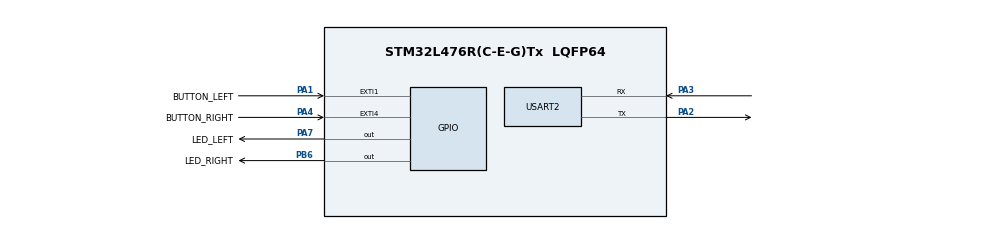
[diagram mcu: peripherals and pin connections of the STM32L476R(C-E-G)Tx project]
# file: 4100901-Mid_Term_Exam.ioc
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Mcu.Family=STM32L4
Mcu.Name=STM32L476R(C-E-G)Tx
Mcu.Package=LQFP64
NVIC.EXTI1_IRQn=true\:0\:0\:false\:false\:true\:true\:true\:true
NVIC.EXTI4_IRQn=true\:0\:0\:false\:false\:true\:true\:true\:true
NVIC.PriorityGroup=NVIC_PRIORITYGROUP_4
PA1.GPIO_Label=BUTTON_LEFT
PA1.Signal=GPXTI1
PA2.Mode=Asynchronous
PA2.Signal=USART2_TX
PA3.Mode=Asynchronous
PA3.Signal=USART2_RX
PA4.GPIO_Label=BUTTON_RIGHT
PA4.Signal=GPXTI4
PA7.GPIO_Label=LED_LEFT
PA7.PinState=GPIO_PIN_SET
PA7.Signal=GPIO_Output
PB6.GPIO_Label=LED_RIGHT
PB6.PinState=GPIO_PIN_SET
PB6.Signal=GPIO_Output
ProjectManager.HeapSize=0x200
ProjectManager.StackSize=0x400
ProjectManager.TargetToolchain=STM32CubeIDE
RCC.HSE_VALUE=8000000
RCC.HSI_VALUE=16000000
RCC.LSE_VALUE=32768
RCC.MSI_VALUE=4000000
RCC.VCOOutputFreq_Value=32000000
USART2.VirtualMode-Asynchronous=VM_ASYNC
board=custom

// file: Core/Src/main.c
/* USER CODE BEGIN Header */
/**
  ******************************************************************************
  * @file           : main.c
  * @brief          : Main program body
  ******************************************************************************
  * @attention
  *
  * Copyright (c) 2024 STMicroelectronics.
  * All rights reserved.
  *
  * This software is licensed under terms that can be found in the LICENSE file
  * in the root directory of this software component.
  * If no LICENSE file comes with this software, it is provided AS-IS.
  *
  ******************************************************************************
  */
/* USER CODE END Header */
#include "main.h"
#define DEBOUNCE_TIME 100

UART_HandleTypeDef huart2;

/* USER CODE BEGIN PV */
uint16_t counter_left=0;
uint16_t counter_right=0;
static uint16_t last_debounce_time_left=0;
static uint16_t last_debounce_time_right=0;
uint16_t counter2_left=0;
uint16_t counter2_right=0;
uint16_t counter22_right=0;
uint16_t counter22_left=0;

/* USER CODE END PV */

void SystemClock_Config(void);
static void MX_GPIO_Init(void);
static void MX_USART2_UART_Init(void);

/* USER CODE BEGIN 0 */
void HAL_GPIO_EXTI_Callback(uint16_t GPIO_Pin)
{
  /* Prevent unused argument(s) compilation warning */
  UNUSED(GPIO_Pin);

  uint16_t current_time= HAL_GetTick();

  if(GPIO_Pin==BUTTON_LEFT_Pin){
		if (current_time - last_debounce_time_left >= DEBOUNCE_TIME) {

		    if (current_time - last_debounce_time_left > 500 && counter_left < 2) {
		    	counter_left = 0;
		    }

		     last_debounce_time_left = current_time;
		     counter_left++;

		     if(counter_right!=0){

		    	 counter_right=0;
		     }

		     if(counter_left==1){
		    	 counter2_left=1;
		    	 HAL_UART_Transmit(&huart2, (uint8_t *)"Left_activate_First\r\n", 21, 10);

		     }else if(counter_left==2){
		        	HAL_UART_Transmit(&huart2, (uint8_t *)"Left_activate_second\r\n", 22, 10);
		        	counter22_left=1;

		        	counter_left=0;

		        }

		}

  }  else if(GPIO_Pin==BUTTON_RIGHT_Pin){
		if (current_time - last_debounce_time_right >= DEBOUNCE_TIME) {

		    if (current_time - last_debounce_time_right > 500 && counter_right < 2) {
		    	counter_right = 0;
		    }

		     last_debounce_time_right = current_time;
		     counter_right++;

		     if(counter_left!=0){

		    	 counter_left=0;
		     }

		     if(counter_right == 1){
		    	 counter2_right=1;
		    	 HAL_UART_Transmit(&huart2, (uint8_t *)"Right_activate_First\r\n", 22, 10);

		     }else if(counter_right==2){
		        	HAL_UART_Transmit(&huart2, (uint8_t *)"Right_activate_second\r\n", 23, 10);
		        	counter22_right=1;

		        	counter_right=0;

		        }

		}
  }

}

/* USER CODE END 0 */

int main(void)
{

  /* MCU Configuration--------------------------------------------------------*/

  /* Reset of all peripherals, Initializes the Flash interface and the Systick. */
  HAL_Init();

  /* Configure the system clock */
  SystemClock_Config();

  /* Initialize all configured peripherals */
  MX_GPIO_Init();
  MX_USART2_UART_Init();

  /* Infinite loop */
  while (1)
  {
  	  if(counter2_left!=0){

  		  for(uint8_t i = 0; i<6 ; i++){
  			  HAL_GPIO_TogglePin(LED_LEFT_GPIO_Port,LED_LEFT_Pin);
  			  HAL_Delay(250);

  		  }
  		counter2_left=0;

  	  }else if(counter22_left!=0){

		  for(uint8_t i = 0; i<9999999999 ; i++){
			  HAL_GPIO_TogglePin(LED_LEFT_GPIO_Port,LED_LEFT_Pin);
			  HAL_Delay(250);

		  }
		counter22_left=0;
		counter_left = 0;

		}

  	  if(counter2_right!=0){

  		  for(uint8_t i = 0; i<6 ; i++){
  			  HAL_GPIO_TogglePin(LED_RIGHT_GPIO_Port,LED_RIGHT_Pin);
  			  HAL_Delay(250);

  		  }
  		counter2_right=0;

  	  }else if(counter22_right!=0){

		  for(uint8_t i = 0; i<9999999999 ; i++){
			  HAL_GPIO_TogglePin(LED_RIGHT_GPIO_Port,LED_RIGHT_Pin);
			  HAL_Delay(250);

		  }
		counter22_right=0;
		counter_right = 0;

		}

  }
}

void SystemClock_Config(void)
{
  RCC_OscInitTypeDef RCC_OscInitStruct = {0};
  RCC_ClkInitTypeDef RCC_ClkInitStruct = {0};

  /** Configure the main internal regulator output voltage
  */
  if (HAL_PWREx_ControlVoltageScaling(PWR_REGULATOR_VOLTAGE_SCALE1) != HAL_OK)
  {
    Error_Handler();
  }

  /** Initializes the RCC Oscillators according to the specified parameters
  * in the RCC_OscInitTypeDef structure.
  */
  RCC_OscInitStruct.OscillatorType = RCC_OSCILLATORTYPE_MSI;
  RCC_OscInitStruct.MSIState = RCC_MSI_ON;
  RCC_OscInitStruct.MSICalibrationValue = 0;
  RCC_OscInitStruct.MSIClockRange = RCC_MSIRANGE_6;
  RCC_OscInitStruct.PLL.PLLState = RCC_PLL_NONE;
  if (HAL_RCC_OscConfig(&RCC_OscInitStruct) != HAL_OK)
  {
    Error_Handler();
  }

  /** Initializes the CPU, AHB and APB buses clocks
  */
  RCC_ClkInitStruct.ClockType = RCC_CLOCKTYPE_HCLK|RCC_CLOCKTYPE_SYSCLK
                              |RCC_CLOCKTYPE_PCLK1|RCC_CLOCKTYPE_PCLK2;
  RCC_ClkInitStruct.SYSCLKSource = RCC_SYSCLKSOURCE_MSI;
  RCC_ClkInitStruct.AHBCLKDivider = RCC_SYSCLK_DIV1;
  RCC_ClkInitStruct.APB1CLKDivider = RCC_HCLK_DIV1;
  RCC_ClkInitStruct.APB2CLKDivider = RCC_HCLK_DIV1;

  if (HAL_RCC_ClockConfig(&RCC_ClkInitStruct, FLASH_LATENCY_0) != HAL_OK)
  {
    Error_Handler();
  }
}

static void MX_USART2_UART_Init(void)
{

  huart2.Instance = USART2;
  huart2.Init.BaudRate = 115200;
  huart2.Init.WordLength = UART_WORDLENGTH_8B;
  huart2.Init.StopBits = UART_STOPBITS_1;
  huart2.Init.Parity = UART_PARITY_NONE;
  huart2.Init.Mode = UART_MODE_TX_RX;
  huart2.Init.HwFlowCtl = UART_HWCONTROL_NONE;
  huart2.Init.OverSampling = UART_OVERSAMPLING_16;
  huart2.Init.OneBitSampling = UART_ONE_BIT_SAMPLE_DISABLE;
  huart2.AdvancedInit.AdvFeatureInit = UART_ADVFEATURE_NO_INIT;
  if (HAL_UART_Init(&huart2) != HAL_OK)
  {
    Error_Handler();
  }

}

static void MX_GPIO_Init(void)
{
  GPIO_InitTypeDef GPIO_InitStruct = {0};

  /* GPIO Ports Clock Enable */
  __HAL_RCC_GPIOA_CLK_ENABLE();
  __HAL_RCC_GPIOB_CLK_ENABLE();

  /*Configure GPIO pin Output Level */
  HAL_GPIO_WritePin(LED_LEFT_GPIO_Port, LED_LEFT_Pin, GPIO_PIN_SET);

  /*Configure GPIO pin Output Level */
  HAL_GPIO_WritePin(LED_RIGHT_GPIO_Port, LED_RIGHT_Pin, GPIO_PIN_SET);

  /*Configure GPIO pins : BUTTON_LEFT_Pin BUTTON_RIGHT_Pin */
  GPIO_InitStruct.Pin = BUTTON_LEFT_Pin|BUTTON_RIGHT_Pin;
  GPIO_InitStruct.Mode = GPIO_MODE_IT_RISING;
  GPIO_InitStruct.Pull = GPIO_NOPULL;
  HAL_GPIO_Init(GPIOA, &GPIO_InitStruct);

  /*Configure GPIO pin : LED_LEFT_Pin */
  GPIO_InitStruct.Pin = LED_LEFT_Pin;
  GPIO_InitStruct.Mode = GPIO_MODE_OUTPUT_PP;
  GPIO_InitStruct.Pull = GPIO_NOPULL;
  GPIO_InitStruct.Speed = GPIO_SPEED_FREQ_LOW;
  HAL_GPIO_Init(LED_LEFT_GPIO_Port, &GPIO_InitStruct);

  /*Configure GPIO pin : LED_RIGHT_Pin */
  GPIO_InitStruct.Pin = LED_RIGHT_Pin;
  GPIO_InitStruct.Mode = GPIO_MODE_OUTPUT_PP;
  GPIO_InitStruct.Pull = GPIO_NOPULL;
  GPIO_InitStruct.Speed = GPIO_SPEED_FREQ_LOW;
  HAL_GPIO_Init(LED_RIGHT_GPIO_Port, &GPIO_InitStruct);

  /* EXTI interrupt init*/
  HAL_NVIC_SetPriority(EXTI1_IRQn, 0, 0);
  HAL_NVIC_EnableIRQ(EXTI1_IRQn);

  HAL_NVIC_SetPriority(EXTI4_IRQn, 0, 0);
  HAL_NVIC_EnableIRQ(EXTI4_IRQn);

}

void Error_Handler(void)
{
  __disable_irq();
  while (1)
  {
  }
}
